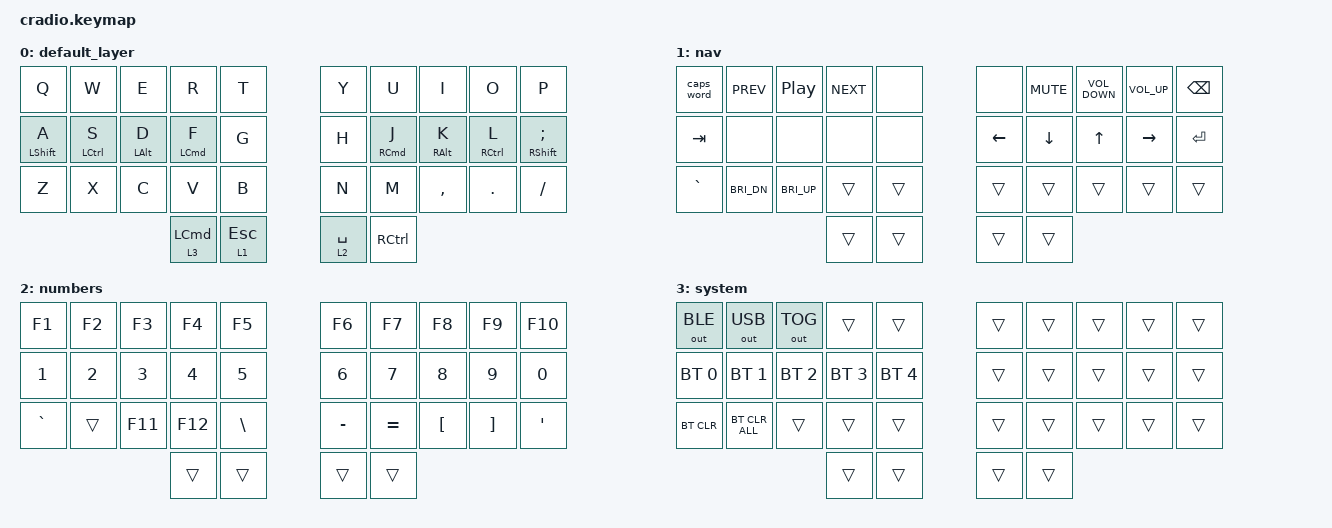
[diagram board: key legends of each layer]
/*
 * Copyright (c) 2020 The ZMK Contributors
 *
 * SPDX-License-Identifier: MIT
 */

#include <behaviors.dtsi>
#include <dt-bindings/zmk/bt.h>
#include <dt-bindings/zmk/keys.h>
#include <dt-bindings/zmk/outputs.h>

/ {
    behaviors {
        homey_left: homey_left {
            compatible = "zmk,behavior-hold-tap";
            label = "HOME_ROW_MODS_LEFT_HAND";
            bindings = <&kp>, <&kp>;

            flavor = "tap-preferred";
            #binding-cells = <2>;
            tapping-term-ms = <270>;
            hold-trigger-on-release;
            quick-tap-ms = <300>;
            require-prior-idle-ms = <170>;
            hold-trigger-key-positions = <5 6 7 8 9 15 16 17 18 19 25 26 27 28 29 32 33>;
        };

        homey_right: homey_right {
            compatible = "zmk,behavior-hold-tap";
            label = "HOME_ROW_MODS_RIGHT_HAND";
            bindings = <&kp>, <&kp>;

            flavor = "tap-preferred";
            #binding-cells = <2>;
            tapping-term-ms = <270>;
            hold-trigger-on-release;
            quick-tap-ms = <300>;
            require-prior-idle-ms = <170>;
            hold-trigger-key-positions = <0 1 2 3 4 10 11 12 13 14 20 21 22 23 24 30 31>;
        };

        shift_left: shift_left {
            compatible = "zmk,behavior-hold-tap";
            label = "HOME_ROW_MODS_LEFT_SHIFT_SHIFT";
            bindings = <&kp>, <&kp>;

            flavor = "tap-preferred";
            #binding-cells = <2>;
            tapping-term-ms = <200>;
            quick-tap-ms = <300>;
            require-prior-idle-ms = <80>;
            hold-trigger-key-positions = <5 6 7 8 9 15 16 17 18 19 25 26 27 28 29 32 33 30 31>;
        };

        shift_right: shift_right {
            compatible = "zmk,behavior-hold-tap";
            label = "HOME_ROW_MODS_RIGHT_SHIFT_SHIFT";
            bindings = <&kp>, <&kp>;

            flavor = "tap-preferred";
            #binding-cells = <2>;
            tapping-term-ms = <200>;
            quick-tap-ms = <300>;
            require-prior-idle-ms = <80>;
            hold-trigger-key-positions = <0 1 2 3 4 10 11 12 13 14 20 21 22 23 24 30 31 32 33>;
        };
    };

    keymap {
        compatible = "zmk,keymap";

        default_layer {
            // -----------------------------------------------------------------------------------------
            // |  TAB |  Q  |  W  |  E  |  R  |  T  |   |  Y  |  U   |  I  |  O  |  P  | BKSP |
            // | CTRL |  A  |  S  |  D  |  F  |  G  |   |  H  |  J   |  K  |  L  |  ;  |  '   |
            // | SHFT |  Z  |  X  |  C  |  V  |  B  |   |  N  |  M   |  ,  |  .  |  /  | ESC  |
            //                    | GUI | LWR | SPC |   | ENT | RSE  | ALT |

            bindings = <
&kp Q                     &kp W                       &kp E                   &kp R                       &kp T           &kp Y        &kp U                         &kp I                     &kp O                         &kp P
&shift_left LEFT_SHIFT A  &homey_left LEFT_CONTROL S  &homey_left LEFT_ALT D  &homey_left LEFT_COMMAND F  &kp G           &kp H        &homey_right RIGHT_COMMAND J  &homey_right RIGHT_ALT K  &homey_right RIGHT_CONTROL L  &shift_right RIGHT_SHIFT SEMICOLON
&kp Z                     &kp X                       &kp C                   &kp V                       &kp B           &kp N        &kp M                         &kp COMMA                 &kp DOT                       &kp FSLH
                                                                              &lt 3 LEFT_COMMAND          &lt 1 ESCAPE    &lt 2 SPACE  &kp RIGHT_CONTROL
            >;
        };

        nav {
            // -----------------------------------------------------------------------------------------
            // |  TAB |  1  |  2  |  3  |  4  |  5  |   |  6  |  7  |  8  |  9  |  0  | BKSP |
            // | BTCLR| BT1 | BT2 | BT3 | BT4 | BT5 |   | LFT | DWN |  UP | RGT |     |      |
            // | SHFT |     |     |     |     |     |   |     |     |     |     |     |      |
            //                    | GUI |     | SPC |   | ENT |     | ALT |

            bindings = <
&caps_word  &kp C_PREV    &kp C_PP      &kp C_NEXT  &none     &none     &kp K_MUTE  &kp C_VOLUME_DOWN  &kp C_VOLUME_UP  &kp BACKSPACE
&kp TAB     &none         &none         &none       &none     &kp LEFT  &kp DOWN    &kp UP             &kp RIGHT        &kp ENTER
&kp GRAVE   &kp C_BRI_DN  &kp C_BRI_UP  &trans      &trans    &trans    &trans      &trans             &trans           &trans
                                        &trans      &trans    &trans    &trans
            >;
        };

        numbers {
            // -----------------------------------------------------------------------------------------
            // |  TAB |  !  |  @  |  #  |  $  |  %  |   |  ^  |  &  |  *  |  (  |  )  | BKSP |
            // | CTRL |     |     |     |     |     |   |  -  |  =  |  [  |  ]  |  \  |  `   |
            // | SHFT |     |     |     |     |     |   |  _  |  +  |  {  |  }  | "|" |  ~   |
            //                    | GUI |     | SPC |   | ENT |     | ALT |

            bindings = <
&kp F1        &kp F2        &kp F3        &kp F4        &kp F5           &kp F6        &kp F7        &kp F8            &kp F9             &kp F10
&kp NUMBER_1  &kp NUMBER_2  &kp NUMBER_3  &kp NUMBER_4  &kp N5           &kp NUMBER_6  &kp NUMBER_7  &kp N8            &kp N9             &kp NUMBER_0
&kp GRAVE     &trans        &kp F11       &kp F12       &kp BACKSLASH    &kp MINUS     &kp EQUAL     &kp LEFT_BRACKET  &kp RIGHT_BRACKET  &kp SQT
                                          &trans        &trans           &trans        &trans
            >;
        };

        system {
            bindings = <
&out OUT_BLE  &out OUT_USB    &out OUT_TOG  &trans        &trans          &trans  &trans  &trans  &trans  &trans
&bt BT_SEL 0  &bt BT_SEL 1    &bt BT_SEL 2  &bt BT_SEL 3  &bt BT_SEL 4    &trans  &trans  &trans  &trans  &trans
&bt BT_CLR    &bt BT_CLR_ALL  &trans        &trans        &trans          &trans  &trans  &trans  &trans  &trans
                                            &trans        &trans          &trans  &trans
            >;
        };
    };
};
